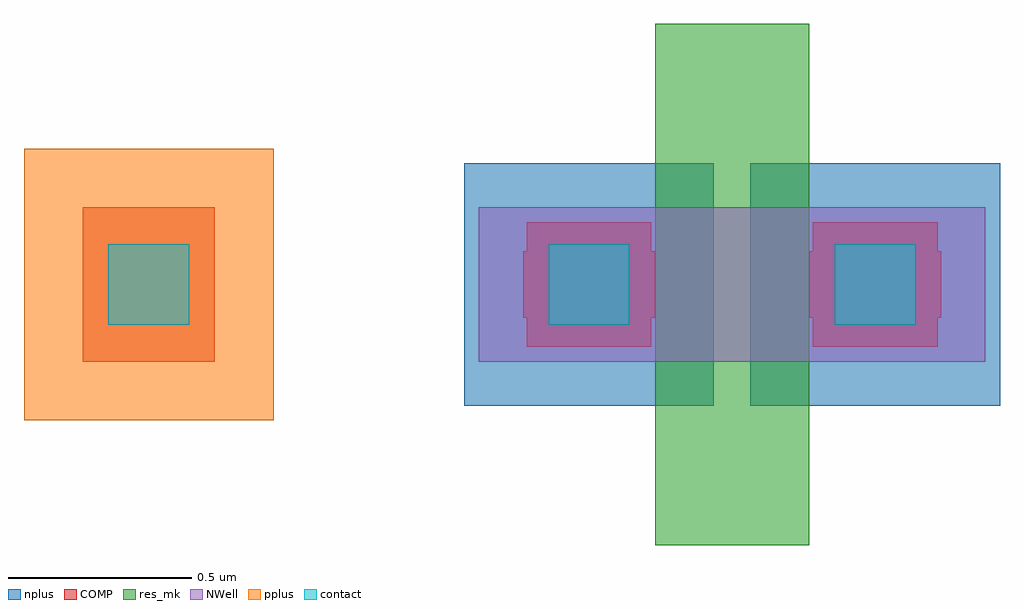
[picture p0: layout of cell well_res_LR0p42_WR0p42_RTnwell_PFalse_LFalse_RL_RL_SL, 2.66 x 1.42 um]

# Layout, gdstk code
import gdstk
lib = gdstk.Library(unit=1e-6, precision=1e-09)
def R(c, l, rs):  # rectangles x0, y0, x1, y1
    for r in rs: c.add(gdstk.rectangle(r[:2], r[2:], *l))
NWell = (21, 0)
COMP = (22, 0)
pplus = (31, 0)
nplus = (32, 0)
contact = (33, 0)
res_mk = (110, 5)

rectangle_gdsfactorypcom = lib.new_cell('rectangle_gdsfactorypcomponentspshapesprectangle_S0p42__658d8da2')
R(rectangle_gdsfactorypcom, res_mk, [(0,0,0.42,1.42)])

c_rectangle_gdsfactorypcom = lib.new_cell('rectangle_gdsfactorypcomponentspshapesprectangle_S1p38__9ce5bacb')
R(c_rectangle_gdsfactorypcom, NWell, [(0,0,1.38,0.42)])

c_rectangle_gdsfactorypcom_ = lib.new_cell('rectangle_gdsfactorypcomponentspshapesprectangle_S0p36__f4eaca73')
R(c_rectangle_gdsfactorypcom_, COMP, [(0,0,0.36,0.18)])

c_rectangle_gdsfactorypcom__ = lib.new_cell('rectangle_gdsfactorypcomponentspshapesprectangle_S0p22__bfea7709')
R(c_rectangle_gdsfactorypcom__, contact, [(0,0,0.22,0.22)])

via_generator_xrm0p36_0_ = lib.new_cell('via_generator_XRm0p36_0_YR0p62_0p8_VS0p22_0p22_VLcontac_d2a55f91')
via_generator_xrm0p36_0_.add(gdstk.Reference(c_rectangle_gdsfactorypcom__, (-0.29,0.6)))

c_rectangle_gdsfactorypcom___ = lib.new_cell('rectangle_gdsfactorypcomponentspshapesprectangle_S0p339_c016f074')
R(c_rectangle_gdsfactorypcom___, COMP, [(0,0,0.34,0.34)])

via_stack_xrm0p36_0_yr0p = lib.new_cell('via_stack_XRm0p36_0_YR0p62_0p8_ML1_CS0p22_0p22_CE0p07_M_5d6c2666')
via_stack_xrm0p36_0_yr0p.add(gdstk.Reference(via_generator_xrm0p36_0_, (0,0)))
via_stack_xrm0p36_0_yr0p.add(gdstk.Reference(c_rectangle_gdsfactorypcom___, (-0.35,0.54)))

comp_related_gen_s0p36_0 = lib.new_cell('comp_related_gen_S0p36_0p18000000000000005')
comp_related_gen_s0p36_0.add(gdstk.Reference(c_rectangle_gdsfactorypcom_, (-0.36,0.62)))
comp_related_gen_s0p36_0.add(gdstk.Reference(via_stack_xrm0p36_0_yr0p, (0,0)))

c_rectangle_gdsfactorypcom____ = lib.new_cell('rectangle_gdsfactorypcomponentspshapesprectangle_S0p679_85dba842')
R(c_rectangle_gdsfactorypcom____, nplus, [(0,0,0.68,0.66)])

c_rectangle_gdsfactorypcom_____ = lib.new_cell('rectangle_gdsfactorypcomponentspshapesprectangle_S0p36__d17c310e')
R(c_rectangle_gdsfactorypcom_____, COMP, [(0,0,0.36,0.42)])

via_generator_xrm1p56_m1 = lib.new_cell('via_generator_XRm1p56_m1p2_YR0p5_0p92_VS0p22_0p22_VLcon_115ef2bc')
via_generator_xrm1p56_m1.add(gdstk.Reference(c_rectangle_gdsfactorypcom__, (-1.49,0.6)))

via_stack_xrm1p56_m1p2_y = lib.new_cell('via_stack_XRm1p56_m1p2_YR0p5_0p92_ML1_CS0p22_0p22_CE0p0_48691b2c')
via_stack_xrm1p56_m1p2_y.add(gdstk.Reference(via_generator_xrm1p56_m1, (0,0)))
via_stack_xrm1p56_m1p2_y.add(gdstk.Reference(c_rectangle_gdsfactorypcom___, (-1.55,0.54)))

c_rectangle_gdsfactorypcom______ = lib.new_cell('rectangle_gdsfactorypcomponentspshapesprectangle_S0p680_1e8ba670')
R(c_rectangle_gdsfactorypcom______, pplus, [(0,0,0.68,0.74)])

well_res_lr0p42_wr0p42_r = lib.new_cell('well_res_LR0p42_WR0p42_RTnwell_PFalse_LFalse_RL_RL_SL')
well_res_lr0p42_wr0p42_r.add(gdstk.Reference(rectangle_gdsfactorypcom, (0,0)))
well_res_lr0p42_wr0p42_r.add(gdstk.Reference(c_rectangle_gdsfactorypcom, (-0.48,0.5)))
r = gdstk.Reference(comp_related_gen_s0p36_0, (0,0)); r.repetition = gdstk.Repetition(2, 1, v1=(0.78,0), v2=(0,0)); well_res_lr0p42_wr0p42_r.add(r)
r = gdstk.Reference(c_rectangle_gdsfactorypcom____, (-0.52,0.38)); r.repetition = gdstk.Repetition(2, 1, v1=(0.78,0), v2=(0,0)); well_res_lr0p42_wr0p42_r.add(r)
well_res_lr0p42_wr0p42_r.add(gdstk.Reference(c_rectangle_gdsfactorypcom_____, (-1.56,0.5)))
well_res_lr0p42_wr0p42_r.add(gdstk.Reference(via_stack_xrm1p56_m1p2_y, (0,0)))
well_res_lr0p42_wr0p42_r.add(gdstk.Reference(c_rectangle_gdsfactorypcom______, (-1.72,0.34)))

lib.write_gds('well_res_LR0p42_WR0p42_RTnwell_PFalse_LFalse_RL_RL_SL.gds')
